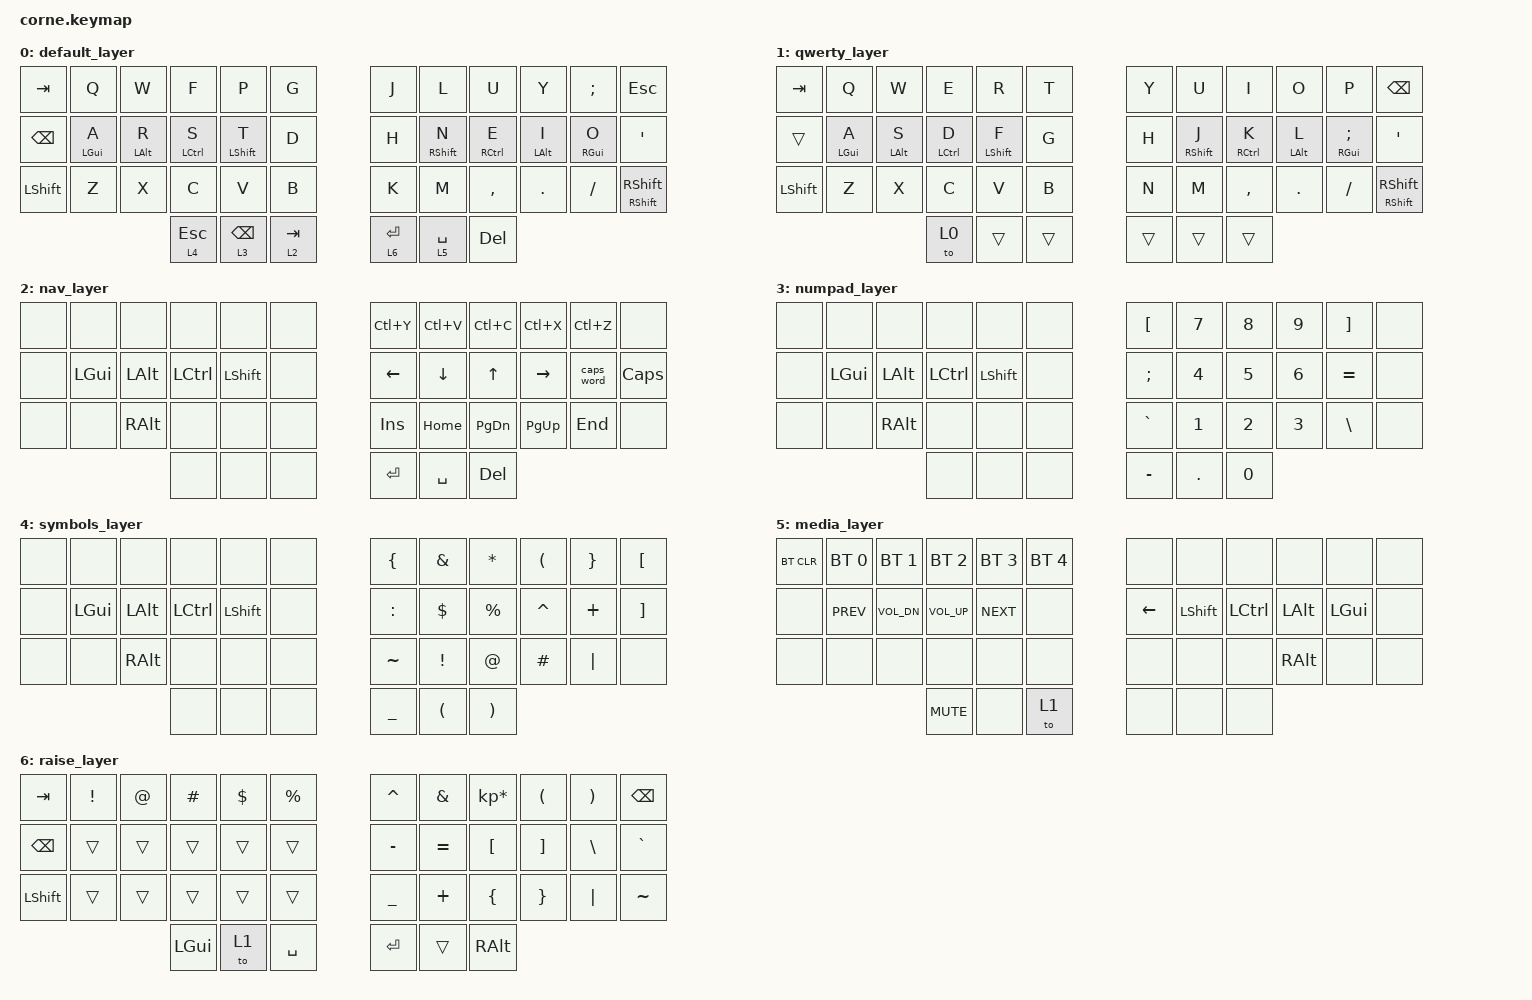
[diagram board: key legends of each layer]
/*
 * Copyright (c) 2020 The ZMK Contributors
 *
 * SPDX-License-Identifier: MIT
 */

#include <behaviors.dtsi>
#include <dt-bindings/zmk/keys.h>
#include <dt-bindings/zmk/bt.h>

#define CLMK    0
#define QWTY    1
#define NAV_L   2
#define NUM_L   3
#define SYM_L   4
#define MED_L   5
#define RSE     6

/ {
    behaviors {
        hm: homerow_mods {
            compatible = "zmk,behavior-hold-tap";
            label = "HOMEROW_MODS";
            #binding-cells = <2>;
            tapping-term-ms = <200>;
            quick-tap-ms = <0>;
            flavor = "tap-preferred";
            bindings =
                <&kp>,
                <&kp>;
        };
        stkm: sticky_mods {
            compatible = "zmk,behavior-hold-tap";
            label = "STICKY_MODS";
            #binding-cells = <2>;
            tapping-term-ms = <200>;
            quick-tap-ms = <0>;
            flavor = "tap-preferred";
            bindings =
                <&sk>,
                <&kp>;
        };
        lm: layer_mods {
            compatible = "zmk,behavior-hold-tap";
            label = "LAYER_MODS";
            #binding-cells = <2>;
            tapping-term-ms = <200>;
            quick-tap-ms = <50>;
            flavor = "tap-preferred";
            bindings =
                <&mo>,
                <&kp>;
        };
    };

    keymap {
        compatible = "zmk,keymap";

        default_layer {
            // -----------------------------------------------------------------------------------------
            // |  TAB |  Q  |  W  |  F  |  P  |  G  |   |  J  |  L   |  U  |  Y  |  ;  | ESC  |
            // | BKSP |  A  |  R  |  S  |  T  |  D  |   |  H  |  N   |  E  |  I  |  O  |  '   |
            // | SHFT |  Z  |  X  |  C  |  V  |  B  |   |  K  |  M   |  ,  |  .  |  /  | SHFT |
            //                    | GUI | LWR | TAB |   | SPC | RET  | ALT |

            bindings = <
   &kp TAB       &kp Q       &kp W        &kp F        &kp P      &kp G      &kp J        &kp L        &kp U       &kp Y    &kp SEMI            &kp ESC
  &kp BSPC  &hm LGUI A  &hm LALT R  &hm LCTRL S  &hm LSHFT T      &kp D      &kp H  &hm RSHFT N  &hm RCTRL E  &hm LALT I  &hm RGUI O            &kp SQT
 &kp LSHFT       &kp Z       &kp X        &kp C        &kp V      &kp B      &kp K        &kp M    &kp COMMA     &kp DOT    &kp FSLH  &stkm RSHFT RSHFT
                                      &lm 4 ESC   &lm 3 BSPC  &lm 2 TAB  &lm 6 RET  &lm 5 SPACE      &kp DEL
            >;
        };

        qwerty_layer {
            // -----------------------------------------------------------------------------------------
            // |  TAB |  Q  |  W  |  E  |  R  |  T  |   |  Y  |  U   |  I  |  O  |  P  | BKSP  |
            // | BKSP |  A  |  S  |  D  |  F  |  G  |   |  H  |  J   |  K  |  L  |  ;  |  '   |
            // | SHFT |  Z  |  X  |  C  |  V  |  B  |   |  N  |  M   |  ,  |  .  |  /  | SHFT |
            //                    | GUI | LWR | ENT |   | SPC | RSE  | ALT |

            bindings = <
   &kp TAB       &kp Q       &kp W        &kp E        &kp R   &kp T   &kp Y        &kp U        &kp I       &kp O          &kp P           &kp BSPC
    &trans  &hm LGUI A  &hm LALT S  &hm LCTRL D  &hm LSHFT F   &kp G   &kp H  &hm RSHFT J  &hm RCTRL K  &hm LALT L  &hm RGUI SEMI            &kp SQT
 &kp LSHFT       &kp Z       &kp X        &kp C        &kp V   &kp B   &kp N        &kp M    &kp COMMA     &kp DOT       &kp FSLH  &stkm RSHFT RSHFT
                                          &to 0       &trans  &trans  &trans       &trans       &trans
            >;
        };

        nav_layer {
            // -----------------------------------------------------------------------------------------
            // |      |     |     |      |      |     |   | REDO | PASTE | COPY |  CUT | UNDO |      |
            // |      | GUI | ALT | CTRL | SHFT |     |   | LFT  | DWN   |  UP  | RGT  | CAP  |      |
            // |      |     | ALT |      |      |     |   | INS  | HOME  | PGDN | PGUP | END  |      |
            //                    |      |      |     |   | DEL  |       |      |

            bindings = <
  &none     &none     &none      &none      &none   &none  &kp LC(Y)  &kp LC(V)  &kp LC(C)  &kp LC(X)   &kp LC(Z)     &none
  &none  &kp LGUI  &kp LALT  &kp LCTRL  &kp LSHFT   &none   &kp LEFT   &kp DOWN     &kp UP  &kp RIGHT  &caps_word  &kp CAPS
  &none     &none  &kp RALT      &none      &none   &none    &kp INS   &kp HOME  &kp PG_DN  &kp PG_UP     &kp END     &none
                                 &none      &none   &none    &kp RET  &kp SPACE    &kp DEL
            >;
        };

        numpad_layer {
            // -----------------------------------------------------------------------------------------
            // |      |     |     |      |      |     |   |  [  |  7  |  8  |  9  |  ]  |      |
            // |      | GUI | ALT | CTRL | SHFT |     |   |  ;  |  4  |  5  |  6  |  =  |      |
            // |      |     | ALT |      |      |     |   |  `  |  1  |  2  |  3  |  \  |      |
            //                    |      |      |     |   |  -  |  .  |  0  |

            bindings = <
  &none     &none     &none      &none      &none   &none   &kp LBKT   &kp N7  &kp N8  &kp N9   &kp RBKT   &none
  &none  &kp LGUI  &kp LALT  &kp LCTRL  &kp LSHFT   &none   &kp SEMI   &kp N4  &kp N5  &kp N6  &kp EQUAL   &none
  &none     &none  &kp RALT      &none      &none   &none  &kp GRAVE   &kp N1  &kp N2  &kp N3   &kp BSLH   &none
                                 &none      &none   &none  &kp MINUS  &kp DOT  &kp N0
            >;
        };

        symbols_layer {
            // -----------------------------------------------------------------------------------------
            // |      |     |     |      |      |     |   |  {  |  &  |  *  |  (  |  }  |      |
            // |      | GUI | ALT | CTRL | SHFT |     |   |  :  |  $  |  %  |  ^  |  +  |      |
            // |      |     | ALT |      |      |     |   |  ~  |  !  |  @  |  #  |  |  |      |
            //                    |      |      |     |   |  _  |  (  |  )  |

            bindings = <
  &none     &none     &none      &none      &none   &none   &kp LBRC  &kp AMPS   &kp STAR   &kp LPAR  &kp RBRC  &kp LBKT
  &none  &kp LGUI  &kp LALT  &kp LCTRL  &kp LSHFT   &none  &kp COLON  &kp DLLR  &kp PRCNT  &kp CARET  &kp PLUS  &kp RBKT
  &none     &none  &kp RALT      &none      &none   &none  &kp TILDE  &kp EXCL     &kp AT   &kp HASH  &kp PIPE     &none
                                 &none      &none   &none  &kp UNDER  &kp LPAR   &kp RPAR
            >;
        };

        media_layer {
            // -----------------------------------------------------------------------------------------
            // | BTCLR | BT1  | BT2    | BT3    | BT4  | BT5  |   |      |      |      |     |     |      |
            // |       | PREV | VOL_DN | VOL_UP | NEXT |      |   |      | SHFT | CTRL | ALT | GUI |      |
            // |       | USB  |        |        |      |      |   |      |      |      | ALT |     |      |
            //                         |  MUTE  |      | QWTY |   |      |      |      |

            bindings = <
 &bt BT_CLR  &bt BT_SEL 0  &bt BT_SEL 1  &bt BT_SEL 2  &bt BT_SEL 3  &bt BT_SEL 4     &none      &none      &none     &none     &none   &none
      &none    &kp K_PREV  &kp K_VOL_DN  &kp K_VOL_UP    &kp K_NEXT         &none  &kp LEFT  &kp LSHFT  &kp LCTRL  &kp LALT  &kp LGUI   &none
      &none         &none         &none         &none         &none         &none     &none      &none      &none  &kp RALT     &none   &none
                                           &kp K_MUTE         &none         &to 1     &none      &none      &none
            >;
        };

        raise_layer {
            // -----------------------------------------------------------------------------------------
            // |  TAB |  !  |  @  |  #  |  $  |  %  |   |  ^  |  &  |  *  |  (  |  )  | BKSP |
            // | BKSP |     |     |     |     |     |   |  -  |  =  |  [  |  ]  |  \  |  `   |
            // | SHFT |     |     |     |     |     |   |  _  |  +  |  {  |  }  | "|" |  ~   |
            //                    | GUI |     | SPC |   | ENT |     | ALT |

            bindings = <
   &kp TAB  &kp EXCL  &kp AT  &kp HASH  &kp DLLR  &kp PRCNT  &kp CARET   &kp AMPS  &kp KP_MULTIPLY  &kp LPAR  &kp RPAR   &kp BSPC
  &kp BSPC    &trans  &trans    &trans    &trans     &trans  &kp MINUS  &kp EQUAL         &kp LBKT  &kp RBKT  &kp BSLH  &kp GRAVE
 &kp LSHFT    &trans  &trans    &trans    &trans     &trans  &kp UNDER   &kp PLUS         &kp LBRC  &kp RBRC  &kp PIPE  &kp TILDE
                              &kp LGUI     &to 1  &kp SPACE    &kp RET     &trans         &kp RALT
            >;
        };
    };
};
